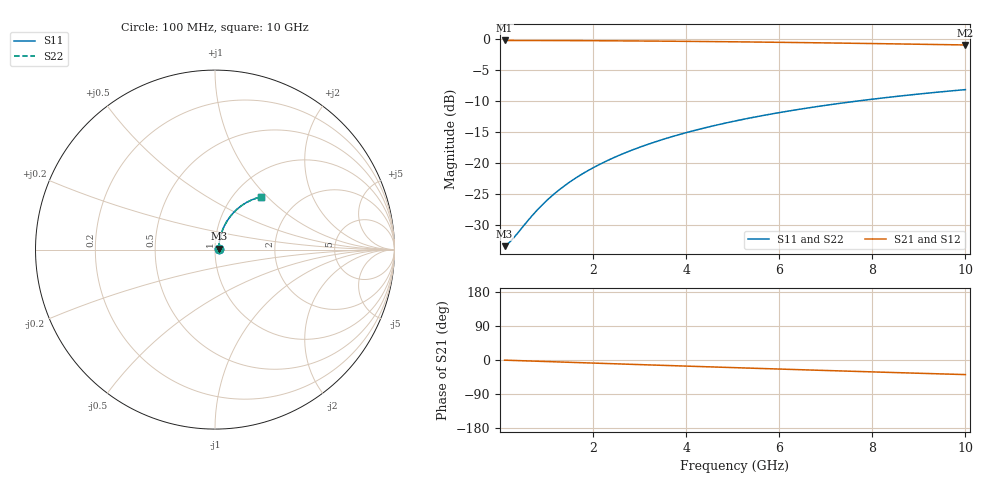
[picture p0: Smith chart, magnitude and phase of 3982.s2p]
# Hz S RI R 50.00
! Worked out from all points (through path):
!   100 points, 100 MHz to 10 GHz, reference 50 ohm
!   highest |S21| = -0.18 dB at 100 MHz (marker M1); lowest = -0.9 dB at 10 GHz (marker M2)
!   group delay of S21, straight-line fit = 10.7 ps
!   lowest |S11| = -33.5 dB at 100 MHz (marker M3), VSWR 1.04, Z = 52.1 + j0.45 ohm
!   |S11| at or under -10 dB: start of sweep to 7.67 GHz
!   |S22| runs from -33.5 to -8.1 dB; largest |S21 - S12| = 0
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1e8  0.0207 0.00432  0.9793 -0.00695  0.9793 -0.00695  0.0207 0.00432
2e8  0.021 0.00863  0.979 -0.0139  0.979 -0.0139  0.021 0.00863
3e8  0.0212 0.0129  0.9787 -0.0208  0.9787 -0.0208  0.0212 0.0129
7e8  0.0227 0.0301  0.9771 -0.0485  0.9771 -0.0485  0.0227 0.0301
8e8  0.0232 0.0344  0.9765 -0.0555  0.9765 -0.0555  0.0232 0.0344
1e9  0.0244 0.0429  0.9752 -0.0693  0.9752 -0.0693  0.0244 0.0429
1.2e9  0.0258 0.0514  0.9737 -0.083  0.9737 -0.083  0.0258 0.0514
1.4e9  0.0275 0.0598  0.9718 -0.0967  0.9718 -0.0967  0.0275 0.0598
1.6e9  0.0293 0.0682  0.9697 -0.1104  0.9697 -0.1104  0.0293 0.0682
1.8e9  0.0314 0.0765  0.9674 -0.1239  0.9674 -0.1239  0.0314 0.0765
2.1e9  0.035 0.0888  0.9634 -0.1442  0.9634 -0.1442  0.035 0.0888
2.5e9  0.0406 0.105  0.9572 -0.1709  0.9572 -0.1709  0.0406 0.105
2.9e9  0.047 0.1207  0.95 -0.1972  0.95 -0.1972  0.047 0.1207
3.4e9  0.0562 0.1397  0.9396 -0.2294  0.9396 -0.2294  0.0562 0.1397
3.8e9  0.0645 0.1544  0.9303 -0.2547  0.9303 -0.2547  0.0645 0.1544
4.2e9  0.0735 0.1685  0.9202 -0.2794  0.9202 -0.2794  0.0735 0.1685
5.1e9  0.0963 0.198  0.8944 -0.3328  0.8944 -0.3328  0.0963 0.198
5.9e9  0.1191 0.2214  0.8684 -0.3775  0.8684 -0.3775  0.1191 0.2214
6.7e9  0.1439 0.2419  0.8399 -0.4194  0.8399 -0.4194  0.1439 0.2419
7.5e9  0.1703 0.2593  0.8093 -0.4583  0.8093 -0.4583  0.1703 0.2593
8.4e9  0.2015 0.2753  0.7729 -0.4985  0.7729 -0.4985  0.2015 0.2753
1e10  0.2588 0.2942  0.7045 -0.5607  0.7045 -0.5607  0.2588 0.2942
